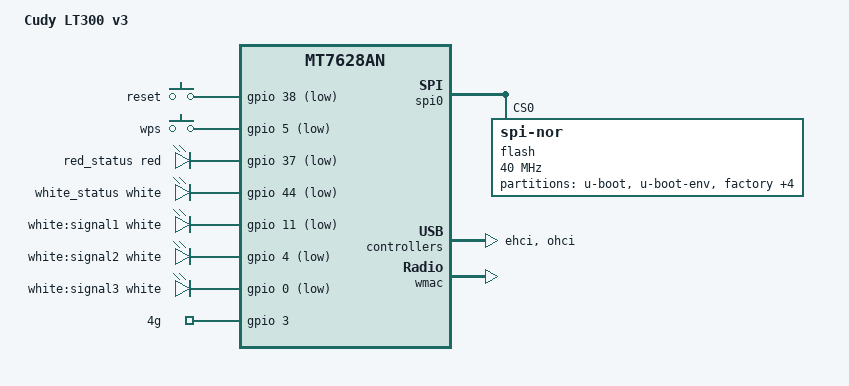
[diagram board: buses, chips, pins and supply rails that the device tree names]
// SPDX-License-Identifier: GPL-2.0-or-later OR MIT

#include "mt7628an.dtsi"

#include <dt-bindings/gpio/gpio.h>
#include <dt-bindings/input/input.h>
#include <dt-bindings/leds/common.h>

/ {
	compatible = "cudy,lt300-v3", "mediatek,mt7628an-soc";
	model = "Cudy LT300 v3";

	aliases {
		led-boot = &white_status;
		led-running = &white_status;
		led-failsafe = &red_status;
		led-upgrade = &red_status;
		label-mac-device = &ethernet;
	};

	chosen {
		bootargs = "console=ttyS0,115200";
	};

	gpio-keys {
		compatible = "gpio-keys";

		reset {
			label = "reset";
			linux,code = <KEY_RESTART>;
			gpios = <&gpio 38 GPIO_ACTIVE_LOW>;
		};

		wps {
			label = "wps";
			gpios = <&gpio 5 GPIO_ACTIVE_LOW>;
			linux,code = <KEY_WPS_BUTTON>;
		};
	};

	gpio-leds {
		compatible = "gpio-leds";

		red_status: red_status {
			function = LED_FUNCTION_STATUS;
			color = <LED_COLOR_ID_RED>;
			gpios = <&gpio 37 GPIO_ACTIVE_LOW>;
		};

		white_status: white_status {
			function = LED_FUNCTION_STATUS;
			color = <LED_COLOR_ID_WHITE>;
			gpios = <&gpio 44 GPIO_ACTIVE_LOW>;
		};

		signal1 {
			label = "white:signal1";
			color = <LED_COLOR_ID_WHITE>;
			gpios = <&gpio 11 GPIO_ACTIVE_LOW>;
		};

		signal2 {
			label = "white:signal2";
			color = <LED_COLOR_ID_WHITE>;
			gpios = <&gpio 4 GPIO_ACTIVE_LOW>;
		};

		signal3 {
			label = "white:signal3";
			color = <LED_COLOR_ID_WHITE>;
			gpios = <&gpio 0 GPIO_ACTIVE_LOW>;
		};
	};

	gpio_export {
		compatible = "gpio-export";

		usb4g {
			gpio-export,name = "4g";
			gpio-export,output = <0>;
			gpios = <&gpio 3 GPIO_ACTIVE_HIGH>;
		};
	};
};

&spi0 {
	status = "okay";

	flash@0 {
		compatible = "jedec,spi-nor";
		reg = <0>;
		spi-max-frequency = <40000000>;

		partitions {
			compatible = "fixed-partitions";
			#address-cells = <1>;
			#size-cells = <1>;

			partition@0 {
				label = "u-boot";
				reg = <0x0 0x30000>;
				read-only;
			};

			partition@30000 {
				label = "u-boot-env";
				reg = <0x30000 0x10000>;
				read-only;
			};

			partition@40000 {
				label = "factory";
				reg = <0x40000 0x10000>;
				read-only;

				nvmem-layout {
					compatible = "fixed-layout";
					#address-cells = <1>;
					#size-cells = <1>;

					eeprom_factory_0: eeprom@0 {
						reg = <0x0 0x400>;
					};
				};
			};

			partition@fd0000 {
				label = "debug";
				reg = <0xfd0000 0x10000>;
				read-only;
			};

			partition@fe0000 {
				label = "backup";
				reg = <0xfe000 0x10000>;
				read-only;
			};

			partition@ff0000 {
				label = "bdinfo";
				reg = <0xff0000 0x10000>;
				read-only;

				nvmem-layout {
					compatible = "fixed-layout";
					#address-cells = <1>;
					#size-cells = <1>;

					macaddr_bdinfo_de00: macaddr@de00 {
						compatible = "mac-base";
						reg = <0xde00 0x6>;
						#nvmem-cell-cells = <1>;
					};
				};
			};
			
			partition@50000 {
				compatible = "denx,uimage";
				label = "firmware";
				reg = <0x50000 0xf80000>;
			};
		};
	};
};

&state_default {
	gpio {
		groups = "refclk", "wled_an", "gpio";
		function = "gpio";
	};
};

&ehci {
	status = "okay";
};

&ohci {
	status = "okay";
};

&wmac {
	status = "okay";

	nvmem-cells = <&eeprom_factory_0>, <&macaddr_bdinfo_de00 2>;
	nvmem-cell-names = "eeprom", "mac-address";
};

&ethernet {
	nvmem-cells = <&macaddr_bdinfo_de00 0>;
	nvmem-cell-names = "mac-address";
};

&esw {
	mediatek,portmap = <0x23>;
};
